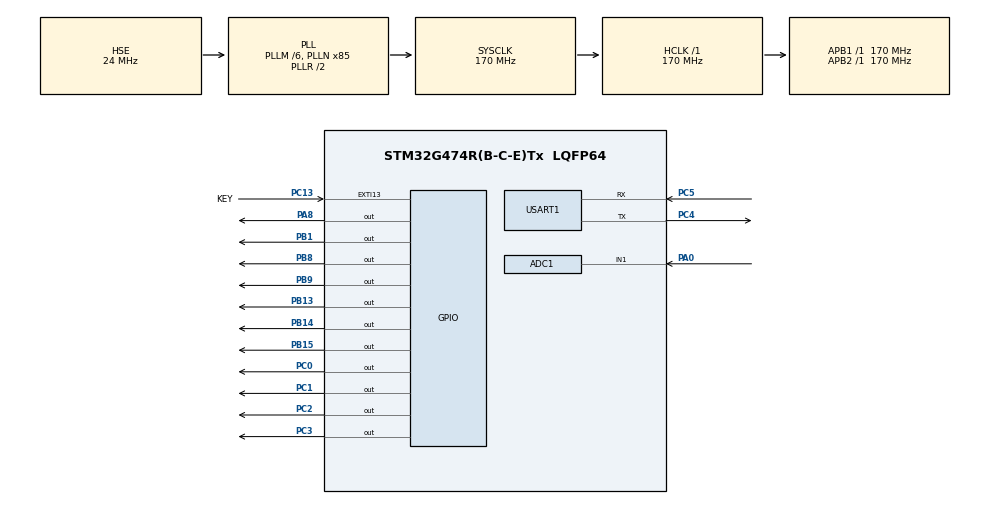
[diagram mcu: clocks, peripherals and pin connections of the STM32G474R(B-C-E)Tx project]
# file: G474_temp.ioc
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ADC1.Channel-0\#ChannelRegularConversion=ADC_CHANNEL_1
ADC1.ExternalTrigConv=ADC_EXTERNALTRIG_T3_TRGO
ADC1.NbrOfConversionFlag=1
ADC1.OffsetNumber-0\#ChannelRegularConversion=ADC_OFFSET_NONE
ADC1.Rank-0\#ChannelRegularConversion=1
ADC1.SamplingTime-0\#ChannelRegularConversion=ADC_SAMPLETIME_2CYCLES_5
ADC1.master=1
Dma.ADC1.0.Direction=DMA_PERIPH_TO_MEMORY
Dma.ADC1.0.EventEnable=DISABLE
Dma.ADC1.0.Instance=DMA1_Channel1
Dma.ADC1.0.MemDataAlignment=DMA_MDATAALIGN_HALFWORD
Dma.ADC1.0.MemInc=DMA_MINC_ENABLE
Dma.ADC1.0.Mode=DMA_CIRCULAR
Dma.ADC1.0.PeriphDataAlignment=DMA_PDATAALIGN_HALFWORD
Dma.ADC1.0.PeriphInc=DMA_PINC_DISABLE
Dma.ADC1.0.Polarity=HAL_DMAMUX_REQ_GEN_RISING
Dma.ADC1.0.Priority=DMA_PRIORITY_LOW
Dma.ADC1.0.RequestNumber=1
Dma.ADC1.0.SignalID=NONE
Dma.ADC1.0.SyncEnable=DISABLE
Dma.ADC1.0.SyncPolarity=HAL_DMAMUX_SYNC_NO_EVENT
Dma.ADC1.0.SyncRequestNumber=1
Dma.ADC1.0.SyncSignalID=NONE
Dma.Request0=ADC1
Mcu.Family=STM32G4
Mcu.Name=STM32G474R(B-C-E)Tx
Mcu.Package=LQFP64
NVIC.DMA1_Channel1_IRQn=true\:0\:0\:false\:false\:true\:false\:true\:true
NVIC.EXTI15_10_IRQn=true\:0\:0\:false\:false\:true\:true\:true\:true
NVIC.PriorityGroup=NVIC_PRIORITYGROUP_4
NVIC.USART1_IRQn=true\:0\:0\:false\:false\:true\:true\:true\:true
PA0.Mode=IN1-Single-Ended
PA0.Signal=ADC1_IN1
PA13.Mode=Serial_Wire
PA13.Signal=SYS_JTMS-SWDIO
PA14.Mode=Serial_Wire
PA14.Signal=SYS_JTCK-SWCLK
PA8.Signal=GPIO_Output
PB1.GPIO_Speed=GPIO_SPEED_FREQ_LOW
PB1.Signal=GPIO_Output
PB13.GPIO_Speed=GPIO_SPEED_FREQ_LOW
PB13.Signal=GPIO_Output
PB14.GPIO_Speed=GPIO_SPEED_FREQ_LOW
PB14.Signal=GPIO_Output
PB15.GPIO_Speed=GPIO_SPEED_FREQ_LOW
PB15.Signal=GPIO_Output
PB8-BOOT0.GPIO_FM8=__NULL
PB8-BOOT0.GPIO_ModeDefaultOutputPP=GPIO_MODE_OUTPUT_OD
PB8-BOOT0.GPIO_PuPd=GPIO_PULLUP
PB8-BOOT0.GPIO_Speed=GPIO_SPEED_FREQ_VERY_HIGH
PB8-BOOT0.Signal=GPIO_Output
PB9.GPIO_ModeDefaultOutputPP=GPIO_MODE_OUTPUT_OD
PB9.GPIO_PuPd=GPIO_PULLUP
PB9.GPIO_Speed=GPIO_SPEED_FREQ_VERY_HIGH
PB9.Signal=GPIO_Output
PC0.GPIO_Speed=GPIO_SPEED_FREQ_HIGH
PC0.Signal=GPIO_Output
PC1.GPIO_Speed=GPIO_SPEED_FREQ_HIGH
PC1.Signal=GPIO_Output
PC13.GPIO_Label=KEY
PC13.Signal=GPXTI13
PC14-OSC32_IN.Mode=LSE-External-Oscillator
PC14-OSC32_IN.Signal=RCC_OSC32_IN
PC15-OSC32_OUT.Mode=LSE-External-Oscillator
PC15-OSC32_OUT.Signal=RCC_OSC32_OUT
PC2.GPIO_Speed=GPIO_SPEED_FREQ_HIGH
PC2.Signal=GPIO_Output
PC3.GPIO_Speed=GPIO_SPEED_FREQ_HIGH
PC3.Signal=GPIO_Output
PC4.Mode=Asynchronous
PC4.Signal=USART1_TX
PC5.Mode=Asynchronous
PC5.Signal=USART1_RX
PF0-OSC_IN.Mode=HSE-External-Oscillator
PF0-OSC_IN.Signal=RCC_OSC_IN
PF1-OSC_OUT.Mode=HSE-External-Oscillator
PF1-OSC_OUT.Signal=RCC_OSC_OUT
ProjectManager.HeapSize=0x200
ProjectManager.StackSize=0x400
ProjectManager.TargetToolchain=MDK-ARM V5.32
RCC.ADC12Freq_Value=170000000
RCC.ADC345Freq_Value=170000000
RCC.AHBFreq_Value=170000000
RCC.APB1Freq_Value=170000000
RCC.APB1TimFreq_Value=170000000
RCC.APB2Freq_Value=170000000
RCC.APB2TimFreq_Value=170000000
RCC.CortexFreq_Value=170000000
RCC.EXTERNAL_CLOCK_VALUE=12288000
RCC.HCLKFreq_Value=170000000
RCC.HSE_VALUE=24000000
RCC.HSI48_VALUE=48000000
RCC.HSI_VALUE=16000000
RCC.PLLM=RCC_PLLM_DIV6
RCC.PLLN=85
RCC.PLLSourceVirtual=RCC_PLLSOURCE_HSE
RCC.RTCClockSelection=RCC_RTCCLKSOURCE_LSE
RCC.SYSCLKFreq_VALUE=170000000
RCC.SYSCLKSource=RCC_SYSCLKSOURCE_PLLCLK
RCC.USBFreq_Value=170000000
RCC.VCOOutputFreq_Value=340000000
TIM3.TIM_MasterOutputTrigger=TIM_TRGO_UPDATE
TIM3.TIM_MasterSlaveMode=TIM_MASTERSLAVEMODE_DISABLE
USART1.VirtualMode-Asynchronous=VM_ASYNC
VP_SYS_VS_DBSignals.Mode=DisableDeadBatterySignals
VP_TIM3_VS_ClockSourceINT.Mode=Internal
board=NUCLEO-G474RE

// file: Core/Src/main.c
/* USER CODE BEGIN Header */
/**
  ******************************************************************************
  * @file           : main.c
  * @brief          : Main program body
  ******************************************************************************
  * @attention
  *
  * Copyright (c) 2023 STMicroelectronics.
  * All rights reserved.
  *
  * This software is licensed under terms that can be found in the LICENSE file
  * in the root directory of this software component.
  * If no LICENSE file comes with this software, it is provided AS-IS.
  *
  ******************************************************************************
  */
/* USER CODE END Header */
#include "main.h"
#include "adc.h"
#include "dma.h"
#include "tim.h"
#include "usart.h"
#include "gpio.h"

/* USER CODE BEGIN Includes */
#include "delay.h"
#include "myusart1.h"
#include "OLED_I2C.h"
#include "ADF4351.h"
#include "AD9834.h"
#include "Data_handle.h"

/* USER CODE END Includes */

/* USER CODE BEGIN PTD */
uint8_t 	start 	 = 0 ;
uint8_t 	adc_flag = 1 ;
uint16_t 	num 	 = 0 ;
float Fre 		= 90.0;
float Start_Fre = 90.0;
float Stop_Fre 	= 110.0;
float Step 		= 0.1;

float scan_time = 5 ;
float scan_interval = 25000;

/* USER CODE END PTD */

void SystemClock_Config(void);

int main(void)
{

  /* MCU Configuration--------------------------------------------------------*/

  /* Reset of all peripherals, Initializes the Flash interface and the Systick. */
  HAL_Init();

  /* Configure the system clock */
  SystemClock_Config();

  /* Initialize all configured peripherals */
  MX_GPIO_Init();
  MX_DMA_Init();
  MX_USART1_UART_Init();
  MX_ADC1_Init();
  MX_TIM3_Init();
  /* USER CODE BEGIN 2 */
  delay_init(170);
  MyUSART1_Init(&huart1);
  OLED_Init();
  OLED_CLS();

  ADF4351Init();
  ADF4351WriteFreq(Fre);

  AD9834_Init();
  AD9834_Select_Wave(Sine_Wave);
  AD9834_Set_Freq(FREQ_0,10245000);

  ADC_Init();

  HAL_GPIO_WritePin(GPIOA,GPIO_PIN_8,GPIO_PIN_RESET);
  /* USER CODE END 2 */

  /* Infinite loop */
  /* USER CODE BEGIN WHILE */
  while (1)
  {
	  uint16_t i = 0;
	  if(start)
	  {
		  Fre = Start_Fre;
		  scan_interval = (scan_time * 1000000) / ((Stop_Fre-Start_Fre)/Step) - 200;
		  for(i=0;i<(Stop_Fre-Start_Fre)/Step;i++)
		  {
			  ADF4351WriteFreq(Fre);
			  delay_us(scan_interval);
			  ADC_Get();
			  while(adc_flag == 0) delay_ms(1);
			  Fre += 0.1f;
		  }
		  //OLED_ShowFloat(0,2,Fre  ,2);
		  start = 0;
		  num = 0;
		  Fre = Start_Fre;
		  ADF4351WriteFreq(Fre);
	  }
    /* USER CODE END WHILE */

  }
}

void SystemClock_Config(void)
{
  RCC_OscInitTypeDef RCC_OscInitStruct = {0};
  RCC_ClkInitTypeDef RCC_ClkInitStruct = {0};

  /** Configure the main internal regulator output voltage
  */
  HAL_PWREx_ControlVoltageScaling(PWR_REGULATOR_VOLTAGE_SCALE1_BOOST);

  /** Initializes the RCC Oscillators according to the specified parameters
  * in the RCC_OscInitTypeDef structure.
  */
  RCC_OscInitStruct.OscillatorType = RCC_OSCILLATORTYPE_HSE;
  RCC_OscInitStruct.HSEState = RCC_HSE_ON;
  RCC_OscInitStruct.PLL.PLLState = RCC_PLL_ON;
  RCC_OscInitStruct.PLL.PLLSource = RCC_PLLSOURCE_HSE;
  RCC_OscInitStruct.PLL.PLLM = RCC_PLLM_DIV6;
  RCC_OscInitStruct.PLL.PLLN = 85;
  RCC_OscInitStruct.PLL.PLLP = RCC_PLLP_DIV2;
  RCC_OscInitStruct.PLL.PLLQ = RCC_PLLQ_DIV2;
  RCC_OscInitStruct.PLL.PLLR = RCC_PLLR_DIV2;
  if (HAL_RCC_OscConfig(&RCC_OscInitStruct) != HAL_OK)
  {
    Error_Handler();
  }

  /** Initializes the CPU, AHB and APB buses clocks
  */
  RCC_ClkInitStruct.ClockType = RCC_CLOCKTYPE_HCLK|RCC_CLOCKTYPE_SYSCLK
                              |RCC_CLOCKTYPE_PCLK1|RCC_CLOCKTYPE_PCLK2;
  RCC_ClkInitStruct.SYSCLKSource = RCC_SYSCLKSOURCE_PLLCLK;
  RCC_ClkInitStruct.AHBCLKDivider = RCC_SYSCLK_DIV1;
  RCC_ClkInitStruct.APB1CLKDivider = RCC_HCLK_DIV1;
  RCC_ClkInitStruct.APB2CLKDivider = RCC_HCLK_DIV1;

  if (HAL_RCC_ClockConfig(&RCC_ClkInitStruct, FLASH_LATENCY_4) != HAL_OK)
  {
    Error_Handler();
  }
}

/* USER CODE BEGIN 4 */
void HAL_GPIO_EXTI_Callback(uint16_t GPIO_PIN)
{
	static	uint16_t mode = 0;
			uint16_t PW	  = ADF4351_R4_PWR_N4DBM;
	if(KEY_Pin)
	{
		if(mode == 4)
			mode = 0;
		switch(mode)
		{
			case 0 : PW	  = ADF4351_R4_PWR_N4DBM;	break;
			case 1 : PW	  = ADF4351_R4_PWR_N1DBM;	break;
			case 2 : PW	  = ADF4351_R4_PWR_2DBM ;	break;
			case 3 : PW	  = ADF4351_R4_PWR_5DBM ;	break;
			default: PW   = ADF4351_R4_PWR_N4DBM;
		}
		OLED_ShowInt(0,0,mode ,2);
		ADF4351WriteFreq_PWR(Fre,PW);
		mode++;
//		OLED_ShowFloat(0,0,Start_Fre ,2);
//		OLED_ShowFloat(0,2,Stop_Fre  ,2);
//		OLED_ShowFloat(0,4,(Stop_Fre-Start_Fre)/Step ,2);
//		OLED_ShowFloat(0,6,scan_interval ,2);
	}
}

void HAL_ADC_ConvCpltCallback(ADC_HandleTypeDef *hadc)
{
	if(hadc == &hadc1)
	{
		Data_handle();
		adc_flag = 1;
	}
}
/* USER CODE END 4 */

void Error_Handler(void)
{
  __disable_irq();
  while (1)
  {
  }
}
